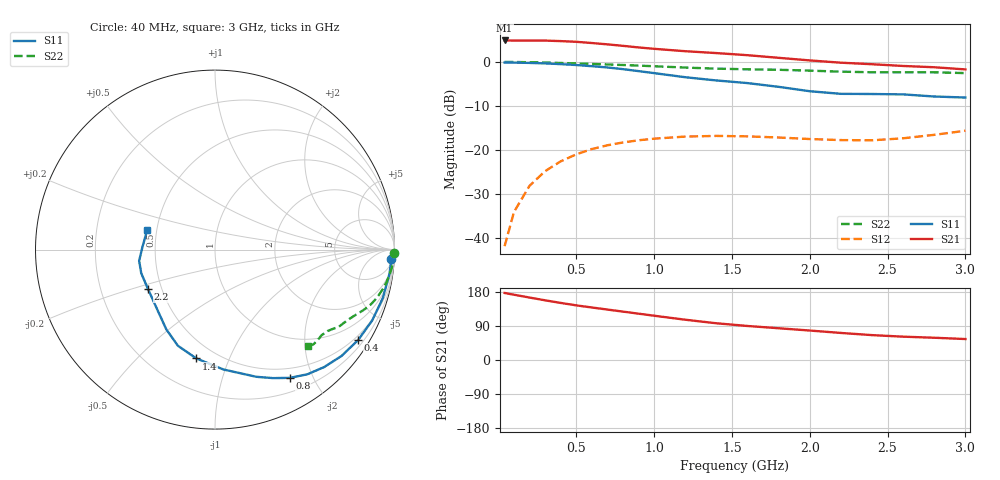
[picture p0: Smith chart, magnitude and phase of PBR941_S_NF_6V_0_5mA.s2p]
! Filename:  PBR941J.S2P  Version:  3.0
! Philips part #:  PBR941  Date: July 1998
! Bias condition:  Vce=6V, Ic=0.5mA
#  MHz  S  MA  R 50
! Freq  S11  S21  S12  S22
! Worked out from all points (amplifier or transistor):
!   21 points, 40 MHz to 3 GHz, reference 50 ohm
!   highest |S21| = 4.9 dB at 40 MHz (marker M1)
!   |S21| within 3 dB of that: start of sweep to 1.456 GHz
!   unconditionally stable (mu >= 1): 2.036 GHz to end of sweep
!   at 300 MHz: K = 0.13, MSG = 14.8 dB, |S12| = -24.8 dB
!   at 1 GHz: K = 0.41, MSG = 10.2 dB, |S12| = -17.4 dB
!   at 3 GHz: K = 1.17, MAG = 4.5 dB, |S12| = -15.6 dB
!   lowest NFmin = 0.94 dB at 900 MHz
!   S11 on the Smith chart (normalised r, x): 40 MHz: 9, -34; 400 MHz: 0.37, -3.42; 800 MHz: 0.37, -1.68; 1.4 GHz: 0.39, -0.76; 2.2 GHz: 0.42, -0.23; 3 GHz: 0.44, +0.12
40  0.9846 -3.2  1.751 176.9  0.008062 88.4  0.999 -1.2
100  0.9813 -8.0  1.746 172.3  0.01969 86.0  0.9969 -2.8
200  0.9734 -16.1  1.747 164.8  0.03908 79.6  0.9909 -5.6
300  0.9607 -24.3  1.745 157.5  0.05734 75.6  0.9824 -8.4
400  0.9432 -32.3  1.722 150.7  0.07414 71.2  0.9715 -11.0
500  0.9211 -40.0  1.69 144.2  0.08896 67.4  0.9597 -13.4
600  0.8934 -47.1  1.638 138.6  0.1022 63.6  0.9471 -15.5
700  0.8641 -53.5  1.582 133.1  0.1128 60.5  0.9344 -17.5
800  0.8274 -59.8  1.521 127.7  0.1215 57.3  0.9215 -19.2
900  0.7854 -65.7  1.459 122.3  0.1285 54.8  0.9073 -20.8
1000  0.7452 -72.0  1.407 116.9  0.1341 52.1  0.892 -22.3
1200  0.6697 -86.0  1.322 106.3  0.1417 47.6  0.8618 -25.1
1400  0.6151 -99.8  1.259 97.0  0.1443 44.2  0.8375 -27.9
1600  0.5743 -111.1  1.191 89.8  0.1425 43.4  0.8234 -30.1
1800  0.5207 -121.4  1.112 83.8  0.1383 45.1  0.8133 -31.9
2000  0.4641 -133.8  1.039 77.8  0.1329 47.5  0.7952 -33.6
2200  0.4333 -149.3  0.9788 71.4  0.1293 51.7  0.7742 -35.8
2400  0.4315 -162.3  0.9404 65.7  0.1285 58.1  0.7618 -38.8
2600  0.4273 -171.6  0.8985 61.6  0.1355 66.2  0.7628 -41.7
2800  0.4042 177.8  0.8689 58.7  0.1483 73.6  0.7611 -43.9
3000  0.3934 163.5  0.8213 55.3  0.1651 79.2  0.7455 -45.9
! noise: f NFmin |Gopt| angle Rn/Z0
500  1.376  0.696  23.53  0.848
900  0.935  0.716  30.55  0.695
1000  1.377  0.661  41.13  0.68
2000  2.475  0.497  108  0.344
